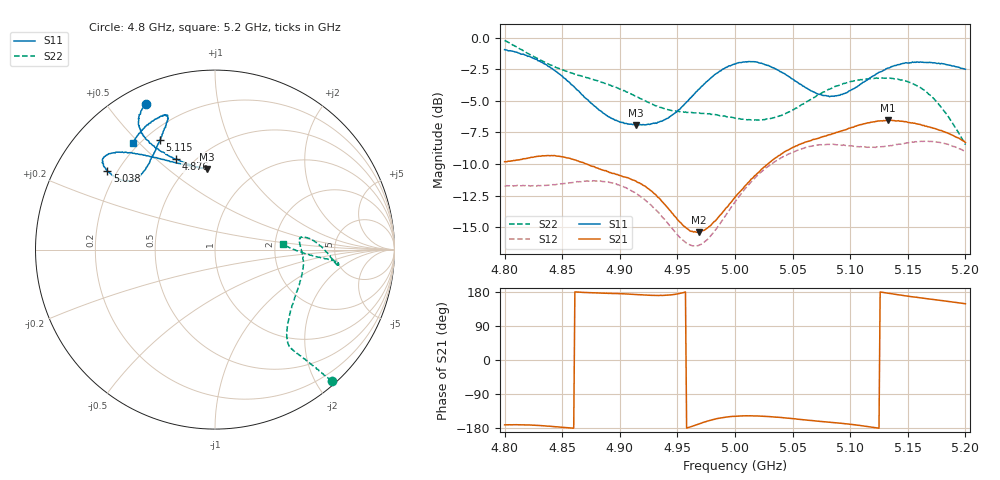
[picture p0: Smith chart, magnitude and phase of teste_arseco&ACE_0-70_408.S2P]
! Network Analyzer HP8722D
! Hewlett-Packard
! Data name: Linha & Wilkinson
! Saver's name: Rodrigo Anjos
! Comments: Teste da utilização de aquisição
! continua pelo VNA HP8722D
! Time and date: 8/5/2025 16:09
!  Frequency  S11  S21  S12  S22
# HZ  S  MA R 50
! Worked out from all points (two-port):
!   401 points, 4.8 GHz to 5.2 GHz, reference 50 ohm
!   highest |S21| = -6.53 dB at 5.133 GHz (marker M1); lowest = -15.4 dB at 4.969 GHz (marker M2)
!   |S21| within 3 dB of the highest: 4.82 GHz to 4.856 GHz (35.21 MHz wide, 0.728 % of centre); 5.035 GHz to end of sweep
!   lowest |S11| = -6.9 dB at 4.914 GHz (marker M3), VSWR 2.65, Z = 30.7 + j34.6 ohm
!   |S11| at or under -10 dB: nowhere
!   |S22| runs from -8.5 to -0.2 dB; largest |S21 - S12| = 0.83
!   S11 on the Smith chart (normalised r, x): 4.8 GHz: 0.08, +0.63; 4.876 GHz: 0.40, +0.58; 5.038 GHz: 0.16, +0.32; 5.115 GHz: 0.26, +0.59; 5.2 GHz: 0.18, +0.48
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4.8e9  0.8979 115.3  0.323 -171.2  0.2588 -86.4  0.9765 -48.3
4.818e9  0.8542 119.7  0.332 -171.2  0.2598 -82.5  0.8792 -49.4
4.835e9  0.7876 121.9  0.3409 -173.9  0.2603 -77.1  0.7996 -50.6
4.849e9  0.7105 121.4  0.3387 -177.3  0.264 -72.6  0.7496 -51.4
4.867e9  0.5959 117.3  0.3213 178.5  0.2691 -68.4  0.7057 -52.2
4.876e9  0.5471 113.2  0.3098 177.4  0.2708 -67.5  0.6859 -52.6
4.898e9  0.4682 101.4  0.2874 175.4  0.2616 -67.9  0.6325 -50.8
4.914e9  0.4515 96.0  0.2705 173.1  0.2416 -69.7  0.5876 -46.6
4.934e9  0.4638 100.5  0.232 170.1  0.2024 -70.4  0.5319 -36.5
4.956e9  0.5444 115.9  0.179 178.7  0.1562 -59.5  0.5074 -22.1
4.969e9  0.6276 124.6  0.1695 -168.4  0.151 -45.2  0.5038 -14.4
5e9  0.7886 137.1  0.2334 -148.5  0.2239 -21.9  0.4808 -0.2
5.018e9  0.8026 141.3  0.2859 -147.6  0.2806 -19.6  0.4733 5.6
5.038e9  0.742 144.0  0.3417 -151.2  0.331 -20.0  0.4892 8.1
5.067e9  0.6147 141.4  0.3944 -159.8  0.3729 -22.4  0.5743 3.2
5.088e9  0.5894 132.3  0.4222 -165.8  0.377 -25.6  0.6438 -3.6
5.115e9  0.6821 116.8  0.4603 -175.6  0.3684 -28.4  0.6875 -7.0
5.133e9  0.7599 110.6  0.4715 176.2  0.373 -30.3  0.6914 -6.3
5.134e9  0.76 110.3  0.4699 175.8  0.3732 -30.5  0.6914 -6.4
5.16e9  0.7999 111.7  0.4544 164.4  0.3881 -36.8  0.638 -5.0
5.179e9  0.7916 118.4  0.4297 157.0  0.3838 -42.9  0.5313 -3.4
5.2e9  0.7512 127.6  0.3847 148.5  0.3544 -48.6  0.3774 4.5
